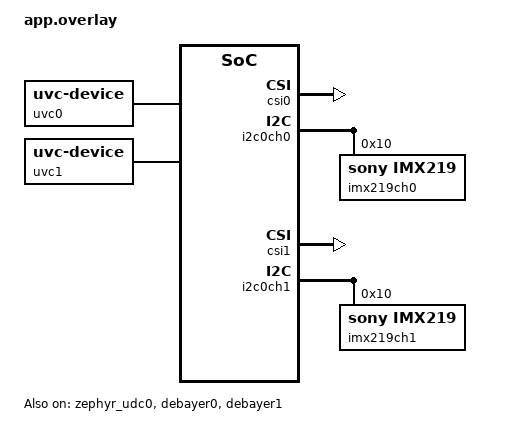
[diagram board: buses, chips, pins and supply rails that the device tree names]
/*
 * Copyright (c) 2025 tinyVision.ai Inc.
 *
 * SPDX-License-Identifier: Apache-2.0
 */

#include <riscv/tinyvision/from_csi0_to_stats0.dtsi>
#include <riscv/tinyvision/from_csi0_to_debayer0.dtsi>
#include <riscv/tinyvision/from_debayer0_to_uvcmanager0.dtsi>

#include <riscv/tinyvision/from_csi1_to_stats1.dtsi>
#include <riscv/tinyvision/from_csi1_to_debayer1.dtsi>
#include <riscv/tinyvision/from_debayer1_to_uvcmanager1.dtsi>

/* USB interfaces */

&zephyr_udc0 {
	num-in-endpoints = <3>;
	num-out-endpoints = <1>;
	status = "okay";

	uvc0: uvc0 {
		compatible = "zephyr,uvc-device";
		interface-name = "tinyCLUNX33-IMX219-Top";
	};

	uvc1: uvc1 {
		compatible = "zephyr,uvc-device";
		interface-name = "tinyCLUNX33-IMX219-Bottom";
	};
};

&uvcmanager0 {
	usb-endpoint = <0x81>;
};

&uvcmanager1 {
	usb-endpoint = <0x82>;
};

/* Camera 0 config */

/ {
	imx219ch0_input_clock: imx219ch0-input-clock {
		compatible = "fixed-clock";
		clock-frequency = <24000000>;
		#clock-cells = <0>;
	};
};

&debayer0 {
	status = "okay";
};

&csi0 {
	status = "okay";
};

&csi0_ep_in {
	remote-endpoint-label = "imx219ch0_ep_out";
};

&i2c0ch0 {
	imx219ch0@10 {
		compatible = "sony,imx219";
		reg = <0x10>;
		clocks = <&imx219ch0_input_clock>;

		port {
			imx219ch0_ep_out: endpoint {
				remote-endpoint-label = "csi0_ep_in";
			};
		};
	};
};

/* Camera 1 config */

/ {
	imx219ch1_input_clock: imx219ch1-input-clock {
		compatible = "fixed-clock";
		clock-frequency = <24000000>;
		#clock-cells = <0>;
	};
};

&debayer1 {
	status = "okay";
};

&csi1 {
	status = "okay";
};

&csi1_ep_in {
	remote-endpoint-label = "imx219ch1_ep_out";
};

&i2c0ch1 {
	imx219ch1@10 {
		compatible = "sony,imx219";
		reg = <0x10>;
		clocks = <&imx219ch1_input_clock>;

		port {
			imx219ch1_ep_out: endpoint {
				remote-endpoint-label = "csi1_ep_in";
			};
		};
	};
};
